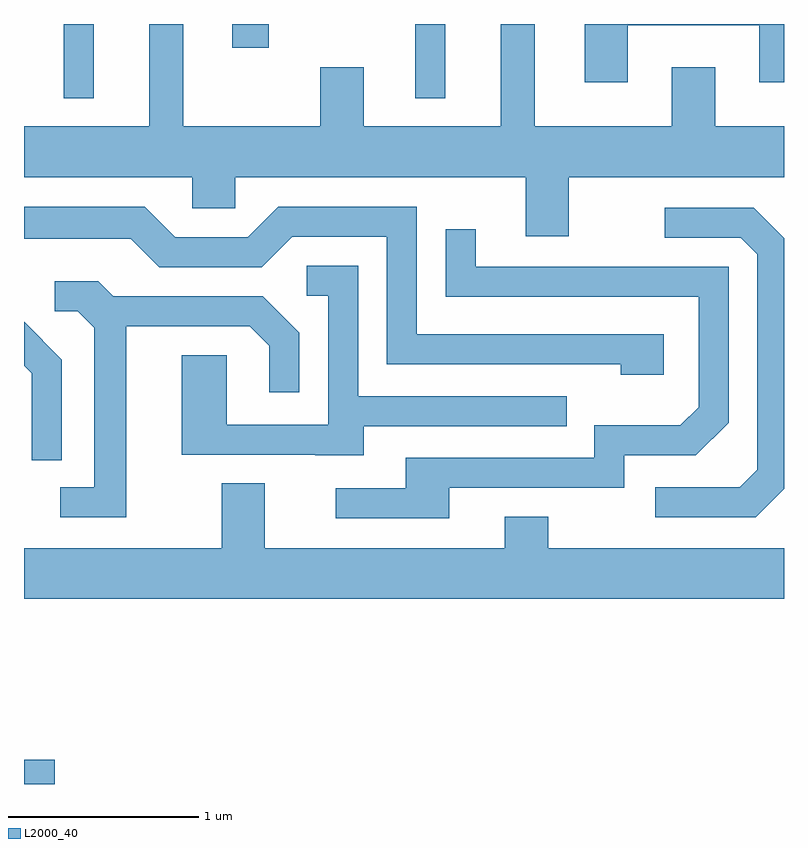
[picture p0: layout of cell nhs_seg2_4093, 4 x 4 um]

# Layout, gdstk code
import gdstk
lib = gdstk.Library(unit=1e-6, precision=1e-09)
def R(c, l, rs):  # rectangles x0, y0, x1, y1
    for r in rs: c.add(gdstk.rectangle(r[:2], r[2:], *l))
def P(c, l, *ps):  # polygons
    for p in ps: c.add(gdstk.Polygon(p, *l))
L2000_40 = (2000, 40)

nhs_seg2_4093 = lib.new_cell('nhs_seg2_4093')
R(nhs_seg2_4093, L2000_40, [(305.611,1031.802,305.774,1031.929), (305.821,1035.412,305.979,1035.802), (307.671,1035.412,307.829,1035.802), (306.706,1035.676,306.899,1035.802)])
P(nhs_seg2_4093, L2000_40, [(308.479,1034.996),(309.611,1034.996),(309.611,1035.264),(309.249,1035.264),(309.249,1035.574),(309.021,1035.574),(309.021,1035.264),(308.299,1035.264),(308.299,1035.802),(308.121,1035.802),(308.121,1035.264),(307.399,1035.264),(307.399,1035.574),(307.171,1035.574),(307.171,1035.264),(306.449,1035.264),(306.449,1035.802),(306.271,1035.802),(306.271,1035.264),(305.611,1035.264),(305.611,1034.996),(306.496,1034.996),(306.496,1034.831),(306.724,1034.831),(306.724,1034.996),(308.251,1034.996),(308.251,1034.686),(308.479,1034.686)],
  [(308.789,1035.796),(309.481,1035.796),(309.481,1035.496),(309.611,1035.496),(309.611,1035.802),(308.561,1035.802),(308.561,1035.496),(308.789,1035.496)],
  [(308.979,1034.169),(307.679,1034.169),(307.679,1034.839),(306.949,1034.839),(306.789,1034.679),(306.407,1034.679),(306.247,1034.839),(305.611,1034.839),(305.611,1034.671),(306.174,1034.671),(306.324,1034.521),(306.862,1034.521),(307.022,1034.681),(307.521,1034.681),(307.521,1034.011),(308.751,1034.011),(308.751,1033.956),(308.979,1033.956)],
  [(309.611,1033.355),(309.611,1034.675),(309.452,1034.834),(308.983,1034.834),(308.983,1034.676),(309.384,1034.676),(309.471,1034.589),(309.471,1033.457),(309.379,1033.364),(308.933,1033.364),(308.933,1033.206),(309.462,1033.206)],
  [(307.849,1033.361),(308.769,1033.361),(308.769,1033.531),(309.147,1033.531),(309.319,1033.704),(309.319,1034.524),(307.989,1034.524),(307.989,1034.723),(307.831,1034.723),(307.831,1034.366),(309.161,1034.366),(309.161,1033.786),(309.064,1033.689),(308.611,1033.689),(308.611,1033.519),(307.621,1033.519),(307.621,1033.359),(307.253,1033.359),(307.253,1033.201),(307.849,1033.201)],
  [(307.399,1033.686),(308.468,1033.686),(308.468,1033.844),(307.369,1033.844),(307.369,1034.529),(307.098,1034.529),(307.098,1034.371),(307.211,1034.371),(307.211,1033.694),(306.679,1033.694),(306.679,1034.059),(306.441,1034.059),(306.441,1033.536),(307.145,1033.536),(307.145,1033.531),(307.399,1033.531)],
  [(306.149,1034.211),(306.799,1034.211),(306.901,1034.109),(306.901,1033.863),(307.059,1033.863),(307.059,1034.177),(306.867,1034.369),(306.082,1034.369),(306.002,1034.449),(305.773,1034.449),(305.773,1034.291),(305.894,1034.291),(305.981,1034.204),(305.981,1033.364),(305.803,1033.364),(305.803,1033.206),(306.149,1033.206)],
  [(305.809,1034.036),(305.611,1034.235),(305.611,1034.004),(305.651,1033.964),(305.651,1033.507),(305.809,1033.507)],
  [(309.611,1033.044),(308.369,1033.044),(308.369,1033.209),(308.141,1033.209),(308.141,1033.044),(306.879,1033.044),(306.879,1033.384),(306.651,1033.384),(306.651,1033.044),(305.611,1033.044),(305.611,1032.776),(309.611,1032.776)])

lib.write_gds('nhs_seg2_4093.gds')
